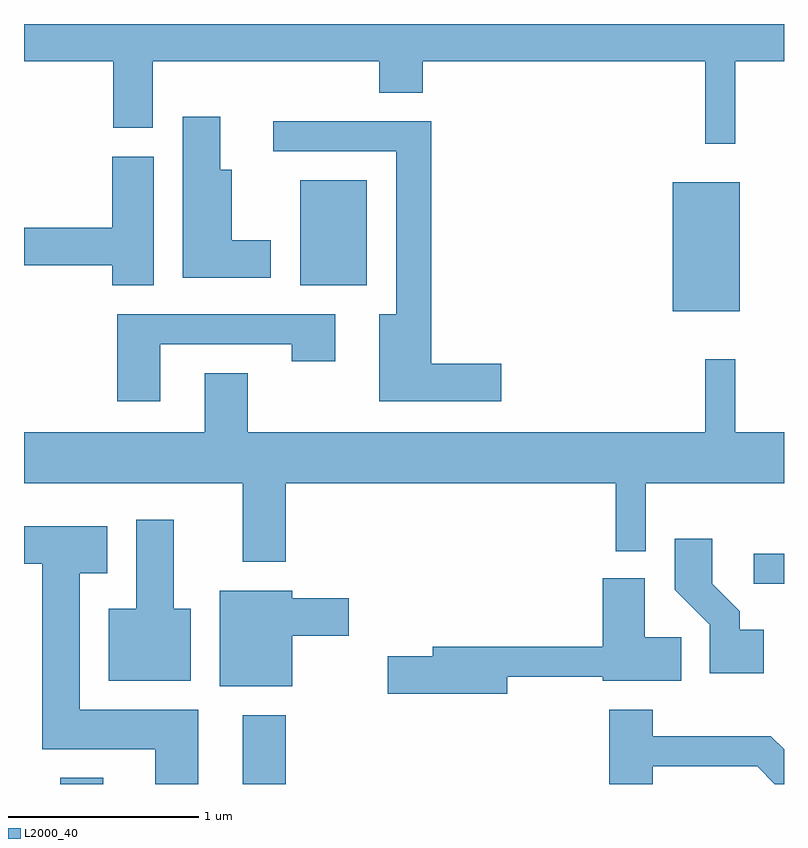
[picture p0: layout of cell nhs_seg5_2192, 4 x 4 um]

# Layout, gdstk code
import gdstk
lib = gdstk.Library(unit=1e-6, precision=1e-09)
def R(c, l, rs):  # rectangles x0, y0, x1, y1
    for r in rs: c.add(gdstk.rectangle(r[:2], r[2:], *l))
def P(c, l, *ps):  # polygons
    for p in ps: c.add(gdstk.Polygon(p, *l))
L2000_40 = (2000, 40)

nhs_seg5_2192 = lib.new_cell('nhs_seg5_2192')
R(nhs_seg5_2192, L2000_40, [(249.801,1484.072,250.029,1484.104), (250.761,1484.072,250.989,1484.434), (253.453,1485.126,253.611,1485.284), (253.026,1486.561,253.379,1487.239), (251.066,1486.696,251.414,1487.249)])
P(nhs_seg5_2192, L2000_40, [(253.354,1487.876),(253.611,1487.876),(253.611,1488.072),(249.611,1488.072),(249.611,1487.876),(250.081,1487.876),(250.081,1487.526),(250.289,1487.526),(250.289,1487.876),(251.481,1487.876),(251.481,1487.711),(251.709,1487.711),(251.709,1487.876),(253.196,1487.876),(253.196,1487.443),(253.354,1487.443)],
  [(250.909,1486.934),(250.704,1486.934),(250.704,1487.304),(250.644,1487.304),(250.644,1487.584),(250.446,1487.584),(250.446,1486.736),(250.909,1486.736)],
  [(252.124,1486.284),(251.754,1486.284),(251.754,1487.559),(250.923,1487.559),(250.923,1487.401),(251.571,1487.401),(251.571,1486.544),(251.481,1486.544),(251.481,1486.086),(252.124,1486.086)],
  [(250.294,1487.374),(250.076,1487.374),(250.076,1486.999),(249.611,1486.999),(249.611,1486.801),(250.076,1486.801),(250.076,1486.696),(250.294,1486.696)],
  [(250.329,1486.386),(251.021,1486.386),(251.021,1486.296),(251.249,1486.296),(251.249,1486.544),(250.101,1486.544),(250.101,1486.086),(250.329,1486.086)],
  [(250.989,1485.656),(252.726,1485.656),(252.726,1485.298),(252.884,1485.298),(252.884,1485.656),(253.611,1485.656),(253.611,1485.924),(253.354,1485.924),(253.354,1486.308),(253.196,1486.308),(253.196,1485.924),(250.789,1485.924),(250.789,1486.234),(250.561,1486.234),(250.561,1485.924),(249.611,1485.924),(249.611,1485.656),(250.761,1485.656),(250.761,1485.241),(250.989,1485.241)],
  [(250.489,1484.994),(250.399,1484.994),(250.399,1485.464),(250.201,1485.464),(250.201,1484.994),(250.056,1484.994),(250.056,1484.616),(250.489,1484.616)],
  [(250.529,1484.464),(249.904,1484.464),(249.904,1485.181),(250.049,1485.181),(250.049,1485.429),(249.611,1485.429),(249.611,1485.231),(249.706,1485.231),(249.706,1484.256),(250.301,1484.256),(250.301,1484.072),(250.529,1484.072)],
  [(253.504,1484.884),(253.379,1484.884),(253.379,1484.982),(253.234,1485.127),(253.234,1485.364),(253.036,1485.364),(253.036,1485.094),(253.221,1484.909),(253.221,1484.656),(253.504,1484.656)],
  [(252.154,1484.636),(252.656,1484.636),(252.656,1484.616),(253.069,1484.616),(253.069,1484.844),(252.879,1484.844),(252.879,1485.154),(252.656,1485.154),(252.656,1484.794),(251.761,1484.794),(251.761,1484.744),(251.526,1484.744),(251.526,1484.546),(252.154,1484.546)],
  [(251.024,1484.851),(251.319,1484.851),(251.319,1485.049),(251.024,1485.049),(251.024,1485.089),(250.641,1485.089),(250.641,1484.586),(251.024,1484.586)],
  [(252.919,1484.166),(253.469,1484.166),(253.563,1484.072),(253.611,1484.072),(253.611,1484.255),(253.542,1484.324),(252.919,1484.324),(252.919,1484.464),(252.691,1484.464),(252.691,1484.072),(252.919,1484.072)])

lib.write_gds('nhs_seg5_2192.gds')
